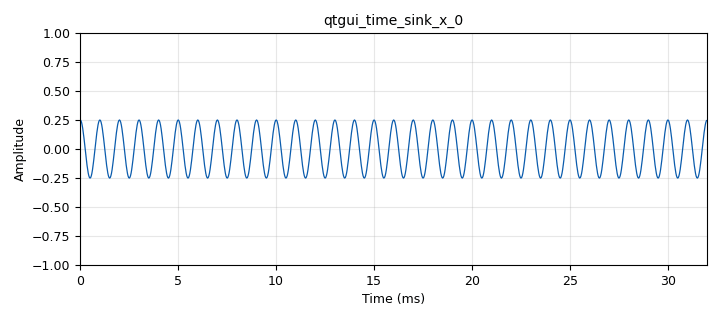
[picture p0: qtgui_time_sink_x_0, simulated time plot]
options:
  parameters:
    author: funki
    generate_options: qt_gui
    id: simple_demo
    output_language: python
    title: This is the window Name
  states: {}

blocks:
- name: freq
  id: variable
  parameters:
    value: '1000'
  states: {state: disabled}
- name: freq
  id: variable_qtgui_range
  parameters:
    gui_hint: '[1,0]'
    orient: Qt.Horizontal
    start: '600'
    step: '1'
    stop: '5000'
    value: '1000'
  states: {}
- name: samp_rate
  id: variable
  parameters:
    value: '32000'
  states: {}
- name: analog_sig_source_x_0
  id: analog_sig_source_x
  parameters:
    amp: '.25'
    freq: freq
    offset: '0'
    phase: '0'
    samp_rate: samp_rate
    type: float
    waveform: analog.GR_COS_WAVE
  states: {}
- name: audio_sink_0
  id: audio_sink
  parameters:
    samp_rate: samp_rate
  states: {}
- name: qtgui_time_sink_x_0
  id: qtgui_time_sink_x
  parameters:
    gui_hint: '[0,0]'
    size: '1024'
    srate: samp_rate
    type: float
  states: {}

connections:
- [analog_sig_source_x_0, '0', audio_sink_0, '0']
- [analog_sig_source_x_0, '0', qtgui_time_sink_x_0, '0']

metadata:
  file_format: 1
